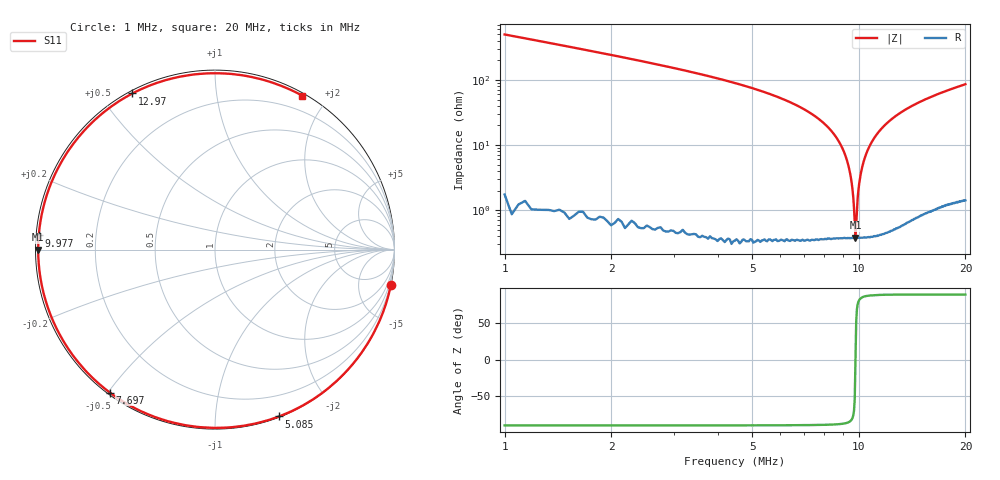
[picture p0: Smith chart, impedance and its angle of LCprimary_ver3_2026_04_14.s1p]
# HZ S RI R 50
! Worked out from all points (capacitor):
!   401 points, 1 MHz to 20 MHz, reference 50 ohm
!   read as one part to ground: C = 315 pF near 1.095 MHz
!   lowest |Z| = 376 mohm at 9.787 MHz (marker M1)
!   series resonance near 9.789 MHz, so ESL is about 840 nH
!   S11 on the Smith chart (normalised r, x): 1 MHz: 0.03, -9.99; 5.085 MHz: 0.01, -1.46; 7.697 MHz: 0.01, -0.51; 9.977 MHz: 0.01, +0.04; 12.97 MHz: 0.01, +0.60; 20 MHz: 0.03, +1.72
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1000000  0.9795 -0.1981
2235000  0.8955 -0.4422
3375000  0.7476 -0.6609
4230000  0.5807 -0.8106
5085000  0.3574 -0.9295
5750000  0.1435 -0.9836
6272500  -0.0452 -0.9915
6747500  -0.227 -0.9652
7222500  -0.4107 -0.9011
7697500  -0.5855 -0.797
8125000  -0.7251 -0.6706
8552500  -0.84 -0.5174
8980000  -0.9234 -0.3452
9360000  -0.9681 -0.1835
9787500  -0.9851 -0.000565
9977500  -0.9819 0.0788
1.05e7  -0.9433 0.2842
1.107e7  -0.8612 0.4784
1.164e7  -0.7519 0.6364
1.22575e7  -0.6183 0.7665
1.2875e7  -0.4808 0.8589
1.297e7  -0.4597 0.8702
1.4015e7  -0.2408 0.9532
1.525e7  -0.0202 0.9823
1.639e7  0.1451 0.9721
1.7625e7  0.2885 0.9399
1.88125e7  0.3985 0.9004
2e7  0.4873 0.857
